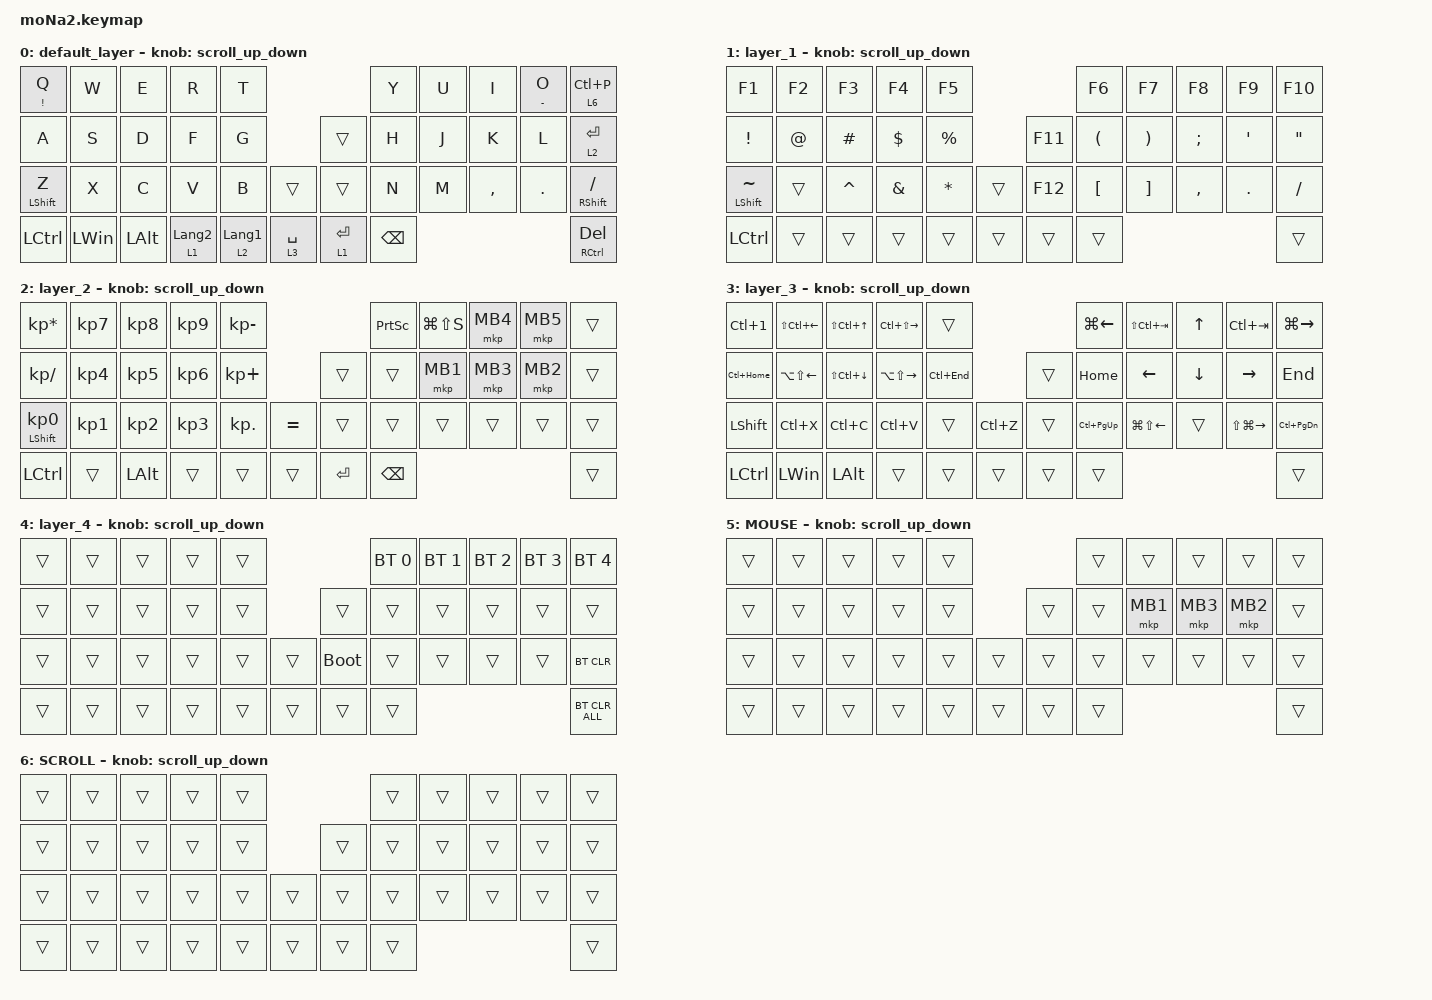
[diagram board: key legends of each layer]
#include <behaviors.dtsi>
#include <dt-bindings/zmk/bt.h>
#include <dt-bindings/zmk/keys.h>
#include <dt-bindings/zmk/pointing.h>

#define ZMK_POINTING_DEFAULT_SCRL_VAL 100
#define MOUSE 5
#define SCROLL 6

&mt {
    flavor = "balanced";
    quick-tap-ms = <0>;
};

/ {
    combos {
        compatible = "zmk,combos";

        layer4_ESC {
            bindings = <&lt 4 ESCAPE>;
            key-positions = <38 39>;
        };

        tab {
            bindings = <&kp TAB>;
            key-positions = <11 12>;
        };
    };

    macros {
        to_layer_0: to_layer_0 {
            compatible = "zmk,behavior-macro-one-param";
            #binding-cells = <1>;
            bindings = <&to 0 &macro_param_1to1 &kp MACRO_PLACEHOLDER>;
            label = "TO_LAYER_0";
        };
    };

    behaviors {
        lt_to_layer_0: lt_to_layer_0 {
            compatible = "zmk,behavior-hold-tap";
            label = "LAYER_TAP_TO_0";
            bindings = <&mo>, <&to_layer_0>;

            #binding-cells = <2>;
            tapping-term-ms = <200>;
        };

        scroll_up_down: behavior_sensor_rotate_mouse_wheel_up_down {
            compatible = "zmk,behavior-sensor-rotate";
            #sensor-binding-cells = <0>;
            bindings = <&msc SCRL_UP>, <&msc SCRL_DOWN>;

            tap-ms = <20>;
        };
    };

    keymap {
        compatible = "zmk,keymap";

        default_layer {
            bindings = <
&mt EXCLAMATION Q  &kp W         &kp E         &kp R             &kp T                                         &kp Y          &kp U  &kp I      &mt MINUS O  &lt 6 LC(P)
&kp A              &kp S         &kp D         &kp F             &kp G                            &trans       &kp H          &kp J  &kp K      &kp L        &lt 2 ENTER
&mt LEFT_SHIFT Z   &kp X         &kp C         &kp V             &kp B             &trans         &trans       &kp N          &kp M  &kp COMMA  &kp PERIOD   &mt RIGHT_SHIFT SLASH
&kp LCTRL          &kp LEFT_WIN  &kp LEFT_ALT  &lt 1 LANGUAGE_2  &lt 2 LANGUAGE_1  &lt 3 SPACE    &lt 1 ENTER  &kp BACKSPACE                                 &mt RIGHT_CONTROL DELETE
            >;

            sensor-bindings = <&scroll_up_down>;
        };

        layer_1 {
            bindings = <
&kp F1                &kp F2       &kp F3     &kp F4         &kp F5                           &kp F6                &kp F7                 &kp F8         &kp F9      &kp F10
&kp EXCLAMATION       &kp AT_SIGN  &kp HASH   &kp DOLLAR     &kp PERCENT             &kp F11  &kp LEFT_PARENTHESIS  &kp RIGHT_PARENTHESIS  &kp SEMICOLON  &kp SQT     &kp DOUBLE_QUOTES
&mt LEFT_SHIFT TILDE  &trans       &kp CARET  &kp AMPERSAND  &kp ASTERISK  &trans    &kp F12  &kp LEFT_BRACKET      &kp RIGHT_BRACKET      &kp COMMA      &kp PERIOD  &kp SLASH
&kp LEFT_CONTROL      &trans       &trans     &trans         &trans        &trans    &trans   &trans                                                                  &trans
            >;

            sensor-bindings = <&scroll_up_down>;
        };

        layer_2 {
            bindings = <
&kp KP_ASTERISK             &kp KP_NUMBER_7  &kp KP_NUMBER_8  &kp KP_NUMBER_9  &kp KP_MINUS                          &kp PRINTSCREEN  &kp LG(LS(S))  &mkp MB4  &mkp MB5  &trans
&kp KP_SLASH                &kp KP_NUMBER_4  &kp KP_NUMBER_5  &kp KP_NUMBER_6  &kp KP_PLUS                &trans     &trans           &mkp MB1       &mkp MB3  &mkp MB2  &trans
&mt LEFT_SHIFT KP_NUMBER_0  &kp KP_NUMBER_1  &kp KP_NUMBER_2  &kp KP_NUMBER_3  &kp KP_DOT    &kp EQUAL    &trans     &trans           &trans         &trans    &trans    &trans
&kp LEFT_CONTROL            &trans           &kp LEFT_ALT     &trans           &trans        &trans       &kp ENTER  &kp BACKSPACE                                       &trans
            >;

            sensor-bindings = <&scroll_up_down>;
        };

        layer_3 {
            bindings = <
&kp LC(NUMBER_1)  &kp LS(LC(LEFT_ARROW))  &kp LS(LC(UP_ARROW))    &kp LC(LS(RIGHT_ARROW))  &trans                            &kp LG(LEFT_ARROW)  &kp LS(LC(TAB))         &kp UP_ARROW    &kp LC(TAB)              &kp LG(RIGHT_ARROW)
&kp LC(HOME)      &kp LA(LS(LEFT_ARROW))  &kp LS(LC(DOWN_ARROW))  &kp LA(LS(RIGHT_ARROW))  &kp LC(END)               &trans  &kp HOME            &kp LEFT_ARROW          &kp DOWN_ARROW  &kp RIGHT_ARROW          &kp END
&kp LEFT_SHIFT    &kp LC(X)               &kp LC(C)               &kp LC(V)                &trans       &kp LC(Z)    &trans  &kp LC(PAGE_UP)     &kp LG(LS(LEFT_ARROW))  &trans          &kp LS(LG(RIGHT_ARROW))  &kp LC(PAGE_DOWN)
&kp LEFT_CONTROL  &kp LEFT_WIN            &kp LEFT_ALT            &trans                   &trans       &trans       &trans  &trans                                                                               &trans
            >;

            sensor-bindings = <&scroll_up_down>;
        };

        layer_4 {
            bindings = <
&trans  &trans  &trans  &trans  &trans                         &bt BT_SEL 0  &bt BT_SEL 1  &bt BT_SEL 2  &bt BT_SEL 3  &bt BT_SEL 4
&trans  &trans  &trans  &trans  &trans            &trans       &trans        &trans        &trans        &trans        &trans
&trans  &trans  &trans  &trans  &trans  &trans    &bootloader  &trans        &trans        &trans        &trans        &bt BT_CLR
&trans  &trans  &trans  &trans  &trans  &trans    &trans       &trans                                                  &bt BT_CLR_ALL
            >;

            sensor-bindings = <&scroll_up_down>;
        };

        MOUSE {
            bindings = <
&trans  &trans  &trans  &trans  &trans                    &trans  &trans    &trans    &trans    &trans
&trans  &trans  &trans  &trans  &trans            &trans  &trans  &mkp MB1  &mkp MB3  &mkp MB2  &trans
&trans  &trans  &trans  &trans  &trans  &trans    &trans  &trans  &trans    &trans    &trans    &trans
&trans  &trans  &trans  &trans  &trans  &trans    &trans  &trans                                &trans
            >;

            sensor-bindings = <&scroll_up_down>;
        };

        SCROLL {
            bindings = <
&trans  &trans  &trans  &trans  &trans                    &trans  &trans  &trans  &trans  &trans
&trans  &trans  &trans  &trans  &trans            &trans  &trans  &trans  &trans  &trans  &trans
&trans  &trans  &trans  &trans  &trans  &trans    &trans  &trans  &trans  &trans  &trans  &trans
&trans  &trans  &trans  &trans  &trans  &trans    &trans  &trans                          &trans
            >;

            sensor-bindings = <&scroll_up_down>;
        };
    };
};
